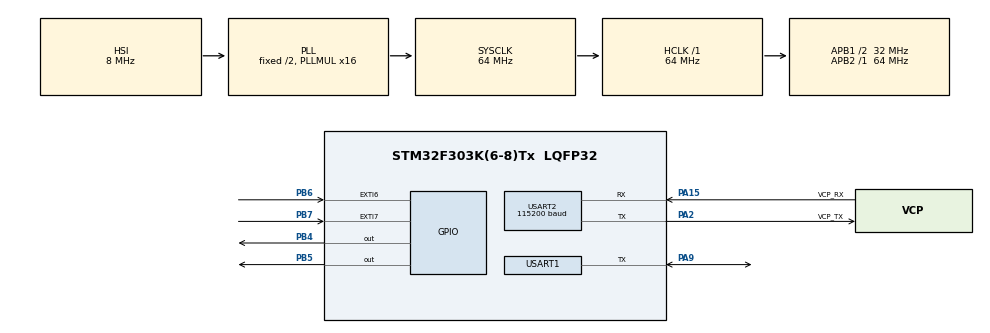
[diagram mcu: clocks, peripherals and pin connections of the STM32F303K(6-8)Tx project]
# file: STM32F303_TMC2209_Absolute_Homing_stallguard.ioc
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Mcu.Family=STM32F3
Mcu.Name=STM32F303K(6-8)Tx
Mcu.Package=LQFP32
NVIC.EXTI9_5_IRQn=true\:1\:0\:true\:false\:true\:true\:true\:true
NVIC.PriorityGroup=NVIC_PRIORITYGROUP_4
NVIC.TIM3_IRQn=true\:2\:0\:true\:false\:true\:true\:true\:true
NVIC.USART2_IRQn=true\:0\:0\:false\:false\:true\:true\:true\:true
PA13.GPIO_Label=SWDIO
PA13.Mode=Serial_Wire
PA13.Signal=SYS_JTMS-SWDIO
PA14.GPIO_Label=SWCLK
PA14.Mode=Serial_Wire
PA14.Signal=SYS_JTCK-SWCLK
PA15.GPIO_Label=VCP_RX
PA15.Mode=Asynchronous
PA15.Signal=USART2_RX
PA2.GPIO_Label=VCP_TX
PA2.Mode=Asynchronous
PA2.Signal=USART2_TX
PA9.Mode=Half_duplex(single_wire_mode)
PA9.Signal=USART1_TX
PB4.Signal=GPIO_Output
PB5.Signal=GPIO_Output
PB6.GPIO_ModeDefaultEXTI=GPIO_MODE_IT_RISING_FALLING
PB6.Signal=GPXTI6
PB7.GPIO_ModeDefaultEXTI=GPIO_MODE_IT_RISING_FALLING
PB7.Signal=GPXTI7
PF0\ /\ OSC_IN.GPIO_Label=MCO
PF0\ /\ OSC_IN.Signal=RCC_OSC_IN
ProjectManager.HeapSize=0x200
ProjectManager.StackSize=0x400
ProjectManager.TargetToolchain=STM32CubeIDE
RCC.AHBFreq_Value=64000000
RCC.APB1CLKDivider=RCC_HCLK_DIV2
RCC.APB1Freq_Value=32000000
RCC.APB1TimFreq_Value=64000000
RCC.APB2Freq_Value=64000000
RCC.APB2TimFreq_Value=64000000
RCC.CortexFreq_Value=64000000
RCC.HCLKFreq_Value=64000000
RCC.HSE_VALUE=8000000
RCC.HSI_VALUE=8000000
RCC.PLLMUL=RCC_PLL_MUL16
RCC.SYSCLKFreq_VALUE=64000000
RCC.SYSCLKSourceVirtual=RCC_SYSCLKSOURCE_PLLCLK
TIM3.Channel-Output\ Compare1\ No\ Output=TIM_CHANNEL_1
TIM3.Prescaler=64-1
USART1.BaudRate=500000
USART1.VirtualMode-Half_duplex(single_wire_mode)=VM_ASYNC
USART2.BaudRate=115200
USART2.VirtualMode-Asynchronous=VM_ASYNC
VP_TIM3_VS_ClockSourceINT.Mode=Internal
VP_TIM3_VS_no_output1.Mode=Output Compare1 No Output
board=NUCLEO-F303K8

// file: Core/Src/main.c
/* USER CODE BEGIN Header */
/**
  ******************************************************************************
  * @file           : main.c
  * @brief          : Main program body
  ******************************************************************************
  * @attention
  *
  * Copyright (c) 2022 STMicroelectronics.
  * All rights reserved.
  *
  * This software is licensed under terms that can be found in the LICENSE file
  * in the root directory of this software component.
  * If no LICENSE file comes with this software, it is provided AS-IS.
  *
  ******************************************************************************
  */
/* USER CODE END Header */
#include "main.h"

/* USER CODE BEGIN Includes */
#include <stdio.h>
#include "tmc/ic/TMC2209/TMC2209.h"
#include <math.h>

/* USER CODE END Includes */

/* USER CODE BEGIN PTD */
typedef struct {
	float acceleration;
	volatile unsigned int minStepInterval;
	void (*dirFunc)(int);
	void (*stepFunc)();

	uint8_t homing;
	unsigned int c0;
	volatile int stepPosition;

	volatile int dir; // 1 or -1
	volatile int dir_inv; //set 1 to reverse the dir

	volatile int pull_off; //set pull_off distance
	volatile int stall_off;

	volatile int seeking_vel;
	volatile int homing_vel;

	volatile unsigned int totalSteps;

	volatile char movementDone;
	volatile unsigned int rampUpStepCount;
	volatile unsigned int n; // index
	volatile float d; // current interval length
	volatile unsigned long di; // d -> unsigned  di
	volatile unsigned int stepCount;

}stepperInfo;   //stepperInfo型の構造体にメンバを格納

/* USER CODE END PTD */

/* USER CODE BEGIN PD */
#define TMC2209_CRC(data, length) tmc_CRC8(data, length, 1)

//#define NUM_STEPPERS 1

/* USER CODE END PD */

 TIM_HandleTypeDef htim3;

UART_HandleTypeDef huart1;
UART_HandleTypeDef huart2;

/* USER CODE BEGIN PV */
//static TMC2209TypeDef TMC2209; //TMC2209の設定などの定義
//static ConfigurationTypeDef *TMC2209_config; //TMC2209の設定
TMC2209TypeDef TMC2209; //TMC2209の設定などの定義
ConfigurationTypeDef TMC2209_config; //TMC2209の設定
volatile stepperInfo steppers[1];    //stepperInfo型の配列stepperにNUM_STEPPERSで定義した値を代入
uint8_t end_stop_state = 0;
uint8_t homing_flag = 0;
uint8_t current_stall = 0;

/* USER CODE END PV */

void SystemClock_Config(void);
static void MX_GPIO_Init(void);
static void MX_USART2_UART_Init(void);
static void MX_USART1_UART_Init(void);
static void MX_TIM3_Init(void);
/* USER CODE BEGIN PFP */
//static void periodicJob(uint32_t tick);
static uint8_t reset(void);
static uint8_t restore(void);
//static TMC2209TypeDef TMC2209;

/* USER CODE END PFP */

/* USER CODE BEGIN 0 */

/*void HAL_TIM_PeriodElapsedCallback(TIM_HandleTypeDef *htim)
{
    if (htim == &htim3){ //htim3に設定したタイマー割り込みの時間で発火する
        HAL_GPIO_TogglePin(GPIOB, GPIO_PIN_5);//ピンの出力を切り替え
    }
}*/
void tmc2209_readWriteArray(uint8_t channel, uint8_t *data, size_t writeLength, size_t readLength)
{
	//set your uart read write
	//UART_readWrite(channelToUART(channel), data, writeLength, readLength);
	HAL_HalfDuplex_EnableTransmitter(&huart1);
	HAL_UART_Transmit(&huart1, data, writeLength,3000);

	if(readLength > 0){
		HAL_HalfDuplex_EnableReceiver(&huart1);
		HAL_UART_Receive(&huart1, data, readLength, 3000);
	}
}

uint8_t tmc2209_CRC8(uint8_t *data, size_t length)
{
	return TMC2209_CRC(data, length);
}

//static void periodicJob(uint32_t tick)
//{
//
//	tmc2209_periodicJob(&TMC2209, tick);
//
//	//StepDir_periodicJob(0);
//}

static uint8_t reset()
{
	//StepDir_init(STEPDIR_PRECISION);
	//StepDir_setPins(0, Pins.STEP, Pins.DIR, Pins.DIAG);

	return tmc2209_reset(&TMC2209);
}

static uint8_t restore()
{
	return tmc2209_restore(&TMC2209);
}

void TMC2209_INIT()
{
	tmc_fillCRC8Table(0x07, true, 1);

	TMC2209_config.reset = reset;
	TMC2209_config.restore = restore;
	tmc2209_init(&TMC2209, 0, 0, &TMC2209_config, &tmc2209_defaultRegisterResetState[0]);

	//restore();
}

static inline TMC2209TypeDef *motorToIC(uint8_t motor)
{
	UNUSED(motor);

	return &TMC2209;
}

void HAL_GPIO_EXTI_Callback(uint16_t GPIO_Pin)
{
	//stepper 0 end stop senssor
	if(GPIO_Pin == GPIO_PIN_6 ){
		if(!HAL_GPIO_ReadPin(GPIOB, GPIO_PIN_6)){
			end_stop_state |= 1;
		}
		if(HAL_GPIO_ReadPin(GPIOB, GPIO_PIN_6)){
			end_stop_state &= ~1;
		}
	}
	if(GPIO_Pin == GPIO_PIN_7 ){
		if(!HAL_GPIO_ReadPin(GPIOB, GPIO_PIN_7)){
			current_stall|= 0;
		}
		if(HAL_GPIO_ReadPin(GPIOB, GPIO_PIN_7)){
			current_stall = 1;
		}
	}
}
void Step0(){                                       //step pin
	//pull+

	HAL_GPIO_WritePin(GPIOB, GPIO_PIN_5, GPIO_PIN_RESET);
	HAL_GPIO_WritePin(GPIOB, GPIO_PIN_5, GPIO_PIN_SET);
	/*
	 * pull-
	 * HAL_GPIO_WritePin(GPIOB, GPIO_PIN_5, GPIO_PIN_SET);
	 * HAL_GPIO_WritePin(GPIOB, GPIO_PIN_5, GPIO_PIN_RESET);
	 */
}

void Dir0(int dir){
	HAL_GPIO_WritePin(GPIOB, GPIO_PIN_4, dir); //Dir0関数にdirピンを指定して格納
}

void resetStepperInfo(stepperInfo* si){    //resetStepperInfo関数に引数をstepperInfo構造隊にポイント型変数siとして与える
	si->n = 0;  //変数*siがメンバnにアクセス.した値に0を代入する
	si->d = 0;
	si->di = 0;
	si->stepCount = 0;
	si->rampUpStepCount = 0;
	si->totalSteps = 0;
	si->stepPosition = 0;
	si->movementDone = 0;
}

void resetStepper(volatile stepperInfo* si){    //resetStepper関数に引数をstepperInfo構造隊にポイント型変数siとして与える
	si->c0 = si->acceleration;      //変数*siがメンバc0にアクセス.した値に変数*siがメンバaccelerationにアクセス.した値を代入する
	si->d = si->c0;
	si->di = si->d;
	si->stepCount = 0;
	si->n = 0;
	si->rampUpStepCount = 0;
	si->movementDone = 0;
}

volatile uint8_t remainingSteppersFlag = 0; //remainingSteppersFlagをuint8_t型で定義し、初期化

void prepareMovement(int steps){
	if(steps == 0){
		return;
	}
	volatile stepperInfo* si = &steppers[0];
	if(si->dir_inv){
		si->dirFunc( steps < 0 ? 0 : 1);
		si->dir = steps > 0 ? -1:1;
	}else{
		si->dirFunc( steps < 0 ? 1 : 0);
		si->dir = steps > 0 ? 1:-1;
	}
		si->totalSteps = abs(steps);
		resetStepper(si);
		remainingSteppersFlag |= (1 << 0);

}

void prepareAbsoluteMovement(int absolute_steps){   //prepareAbsoluteMovementで与えられたステップ数だけモータを回す(main文から）
	printf("absolute_steps:%d\r\n",absolute_steps);
	volatile stepperInfo* si = &steppers[0];	//steppers[0]のアドレスをstepperInfo* si に代入
	int steps = absolute_steps - si->stepPosition;	//目標値からstepPositionを引いた値（stepposition=毎ステップカウントされるdirの値)
	printf("steps:%d\r\n",steps);
	if(steps == 0){
					return;
				}
	si->dirFunc( steps < 0 ? 1 : 0);
	si->dir = steps > 0 ? 1:-1;
	//printf("prepareAbsoluteMovement\r\n");
	si->totalSteps = abs(steps);	//stepsの値をアブソリュートでtotalstepsに格納
	printf("steps:%d\r\n",si->totalSteps);

	resetStepper(si);
	printf("steps:%d\r\n",steps);
	remainingSteppersFlag |= (1 << 0);
}
volatile uint8_t nextStepperFlag = 0;

void setNextInterruptInterval(){

	unsigned int mind = 999999;

		if( ((1 << 0)& remainingSteppersFlag) && steppers[0].di < mind ){
			mind = steppers[0].di;
		}
		nextStepperFlag = 0;

			if( (1 << 0) && steppers[0].di == mind ){
				nextStepperFlag |= (1 << 0);
			}

		__HAL_TIM_SET_COMPARE(&htim3, TIM_CHANNEL_1, mind);		//mindにコンペアを設定
			//printf("mind:%d \r\n",mind);

	if (remainingSteppersFlag == 0){
		__HAL_TIM_SET_COMPARE(&htim3, TIM_CHANNEL_1, 65500);    //65500→コンペアマッチさせない
	}

	__HAL_TIM_SET_COMPARE(&htim3, TIM_CHANNEL_1, mind);
	return;

}
//
//void currentcheck(){
//	int32_t current_value = 0;
//	int32_t DIAG_value = 0;
//	int32_t tstep_value = 0;
//	int32_t SGTHRS_value = 0;
//

//	tstep_value=TMC2209_FIELD_READ(&TMC2209, TMC2209_TSTEP, TMC2209_TSTEP_MASK, TMC2209_TSTEP_SHIFT);
//	printf("tstep: %ld\r\n", tstep_value);
//	tmc2209_periodicJob(&TMC2209, HAL_GetTick());

//	SGTHRS_value = tmc2209_readInt(&TMC2209, TMC2209_SGTHRS);
//	printf("SGTHRS: %d\r\n", SGTHRS_value);

//	current_value=tmc2209_readInt(&TMC2209, TMC2209_SG_RESULT);	//保持トルクの設定
//	printf("SG_RESULT : %ld\r\n", current_value);

//	current_value = 3;
//	TMC2209_FIELD_UPDATE(&TMC2209, TMC2209_GCONF, TMC2209_DIAG_MASK, TMC2209_DIAG_SHIFT,toff_value);
//	tmc2209_periodicJob(&TMC2209, HAL_GetTick());

//	DIAG_value=TMC2209_FIELD_READ(&TMC2209, TMC2209_GCONF, TMC2209_DIAG_MASK, TMC2209_DIAG_SHIFT);
//	printf("DIAG : %ld\r\n", DIAG_value);
//	tmc2209_periodicJob(&TMC2209, HAL_GetTick());
//
//}
void HAL_TIM_OC_DelayElapsedCallback(TIM_HandleTypeDef *htim){      //指定したコンペアを超えた時発火
	//HAL_TIM_OC_Stop_IT(&htim3, TIM_CHANNEL_1);
	if(htim == &htim3){
	unsigned int tmpCtr = __HAL_TIM_GET_COMPARE(&htim3, TIM_CHANNEL_1);	//指定されたタイマーチャンネルのコンペアを所得
	__HAL_TIM_SET_COMPARE(&htim3, TIM_CHANNEL_1, 65500);			//コンペアを65500にセット

	if( homing_flag & (1 << 0)){
				if(end_stop_state & (1 << 0)){
					remainingSteppersFlag &= ~(1 << 0);
				}
			}
	if ( ! (nextStepperFlag & (1 << 0)) ){				//nextStepperFlagが真でない(0なら)
			steppers[0].di -= tmpCtr;           //tmpCtrの値からsteppers[i].di引いた値を新しくsteppers[i].diに代入
		}
		//printf("steppers:%ld \r\n",steppers[0].di);

		volatile stepperInfo* s = &steppers[0];

		if( (s->stepCount) < (s->totalSteps)&& !(current_stall)  ){		//1周ごとにカウントしたstepCountがabs(steps)より小さかったら==動作が終了するまで
			s->stepFunc();
			s->stepCount++;							//カウントし続ける
			s->stepPosition += s->dir;		//dir(+もしくはー(dirの向き）を加算してstepPositionに格納
			if ( (s->stepCount) >= (s->totalSteps) ){	//stepCountがtotalStepsを超えたとき
				s->movementDone = 1;	//movementDoneを1にする
				remainingSteppersFlag &= ~(1 << 0);
			}
		}

		if (s->rampUpStepCount == 0){
			s->n++;									//sにnを代入して、nをプラス1する
			s->d = s->d - (2*s->d) / (4*s->n +1);	//加減速遅延時間
			if (s->d <= s->minStepInterval ){		//加減速遅延時間がminStepIntervalより短いなら（定数で指定）
				s->d = s->minStepInterval;			//minStepIntervalを加減速遅延時間にする
				s->rampUpStepCount = s->stepCount;	//rampUpStepCountはstepCountとする
			}
			if (s->stepCount >= (s->totalSteps / 2) ){  //目標値から現在のステップを引いた値の1/2よりstepCountが大きくなったとき
				s->rampUpStepCount = s->stepCount;		//rampUpStepCountはstepCountとする
			}
		} else if ( s->stepCount >= s->totalSteps - s->rampUpStepCount) {	//目標値から現在のステップを引いた値からrampUpStepCountを引いた値がstepCountより小さいなら
			s->d = (s->d * (4 * s->n + 1)) / (4 * s->n + 1 -2);				//減速の時のステップ
			s->n--;		//sにnを代入し、nから1を引く
		}
		s->di = s->d;	//計算結果sをstepperInfoのメンバdに代入したものをメンバdiに代入
		//printf("stepPosition:%ld \r\n",s->stepPosition);
		setNextInterruptInterval();
		__HAL_TIM_SET_COUNTER(&htim3, 0);

	}
}

void sensorStateInit(){							//割り込みリセット
	if( ! HAL_GPIO_ReadPin(GPIOA, GPIO_PIN_6)){	//割り込みピンが真でない(1でない=0なら)
		end_stop_state |= 1;					//end_stop_stateに左辺か右辺が1なら1を代入
	}
}

void stallguard_back(){
	prepareMovement(steppers[0].stall_off);	//stall_off
	current_stall=0;
	return;

//	volatile stepperInfo* st = &steppers[0];
//	int steps = steppers[0].stall_off;
//	st->dirFunc( steps < 0 ? 0 : 1);
//	st->dir = steps > 0 ? -1:1;
//	int backsteps = st->stepPosition-steps;
//	printf("totalSteps Before%d\r\n",backsteps);
//
//	st->totalSteps = abs(backsteps);
//
//	printf("totalSteps After%d\r\n", st->totalSteps);

}
void runAndWait(){
	setNextInterruptInterval();
	while(remainingSteppersFlag && !(current_stall));
	if(current_stall==1){
		stallguard_back();
	}
	HAL_Delay(100);

	//printf("posi%d\r\n",re->totalSteps);
}
void AbsoluteReset(){
	volatile stepperInfo* re = &steppers[0];

	re->n = 0;  //変数*siがメンバnにアクセス.した値に0を代入する
	re->d = 0;
	re->di = 0;
	re->stepCount = 0;
	re->rampUpStepCount = 0;
	re->totalSteps = 0;
	re->stepPosition = 0;
	printf("RestOK\r\n");
}

void stepperHoming(){
	homing_flag |= (1 << 0);
	//seeking
	steppers[0].minStepInterval = steppers[0].seeking_vel;	//ホームピンに反応するまでモータ回す
	prepareMovement( -100000000);
	runAndWait();
	HAL_Delay(500);
	//pull-off

	homing_flag &= ~(1 << 0);								//homing_flagが反応したらpull_offだけモータ回す
	prepareMovement(steppers[0].pull_off);
	runAndWait();
	HAL_Delay(500);
	//homing

	homing_flag |= (1 << 0);								//ホームピンに反応するまでモータ回す
	steppers[0].minStepInterval = steppers[0].homing_vel;
	prepareMovement( -100000000);
	runAndWait();
	HAL_Delay(500);
	//pull-off
	homing_flag &= ~(1 << 0);
	prepareMovement(steppers[0].pull_off);
	runAndWait();
	HAL_Delay(500);

	steppers[0].stepPosition = 0;
	steppers[0].homing = 1;
	steppers[0].minStepInterval = 500;
	printf("homing:\r\n");

}

void TMCsetup(){
	int32_t mstep_value = 0;
		int32_t toff_value = 0;
		int32_t microstep_value = 0;
		int32_t IRUN_value = 0;
		int32_t IHOLD_value = 0;
		int32_t IHOLDDELAY_value= 0;
		int32_t stallgard_setup_value=0;
		int32_t TCOOLTHRS_value=0;
		int32_t SEMAX_value=0;
		int32_t TBL_value = 0;
		int32_t stealthChop_value = 0;
		int32_t autoscale_value = 0;
		int32_t PWMAuto_value = 0;
		int32_t PWMAuto_scale = 0;
		int32_t value = 0;

		IRUN_value = 22;
		TMC2209_FIELD_UPDATE(&TMC2209, TMC2209_IHOLD_IRUN, TMC2209_IRUN_MASK, TMC2209_IRUN_SHIFT, IRUN_value);	//実行電流
		tmc2209_periodicJob(&TMC2209, HAL_GetTick());
		HAL_Delay(100);
		IRUN_value=TMC2209_FIELD_READ(&TMC2209, TMC2209_IHOLD_IRUN, TMC2209_IRUN_MASK, TMC2209_IRUN_SHIFT);
		printf("IRUN: %ld\r\n", IRUN_value);

		IHOLD_value= 16;																						//モーター待機時の電流の設定
		TMC2209_FIELD_UPDATE(&TMC2209,TMC2209_IHOLD_IRUN, TMC2209_IHOLD_MASK, TMC2209_IHOLD_SHIFT, IHOLD_value);
		tmc2209_periodicJob(&TMC2209, HAL_GetTick());
		HAL_Delay(100);
		IHOLD_value=TMC2209_FIELD_READ(&TMC2209, TMC2209_IHOLD_IRUN, TMC2209_IHOLD_MASK, TMC2209_IHOLD_SHIFT);	//保持電流
		printf("IHOLD: %ld\r\n", IHOLD_value);

		value=0;
		value = TMC2209_FIELD_READ(&TMC2209, TMC2209_GCONF, TMC2209_PDN_DISABLE_MASK,TMC2209_PDN_DISABLE_SHIFT);
		printf("pdn_disable : %ld\r\n", value);
		value = 1;
		TMC2209_FIELD_UPDATE(&TMC2209, TMC2209_GCONF, TMC2209_PDN_DISABLE_MASK, TMC2209_PDN_DISABLE_SHIFT, value);
		tmc2209_periodicJob(&TMC2209, HAL_GetTick());
		value=TMC2209_FIELD_READ(&TMC2209, TMC2209_GCONF, TMC2209_PDN_DISABLE_MASK, TMC2209_PDN_DISABLE_SHIFT);
		printf("pdn_disable : %ld\r\n", value);

		TCOOLTHRS_value=300;
		tmc2209_writeInt(&TMC2209, TMC2209_TCOOLTHRS, TCOOLTHRS_value);
		tmc2209_periodicJob(&TMC2209, HAL_GetTick());
		printf("TCOOLTHRS: %ld\r\n", TCOOLTHRS_value);

		value=0;
		value = TMC2209_FIELD_READ(&TMC2209, TMC2209_GCONF, TMC2209_EN_SPREADCYCLE_MASK,TMC2209_EN_SPREADCYCLE_SHIFT);
		printf("SPREADCYCLE : %ld\r\n", value);
		value = 0;
		TMC2209_FIELD_UPDATE(&TMC2209, TMC2209_GCONF, TMC2209_EN_SPREADCYCLE_MASK, TMC2209_EN_SPREADCYCLE_SHIFT ,value);
		tmc2209_periodicJob(&TMC2209, HAL_GetTick());
		value=TMC2209_FIELD_READ(&TMC2209, TMC2209_GCONF, TMC2209_EN_SPREADCYCLE_MASK,TMC2209_EN_SPREADCYCLE_SHIFT);
		printf("SPREADCYCLE : %ld\r\n", value);

		value=10;
		tmc2209_writeInt(&TMC2209, TMC2209_TPWMTHRS, value);
		tmc2209_periodicJob(&TMC2209, HAL_GetTick());
		printf("TPWMTHRS: %ld\r\n", value);

		value=0;
		value = TMC2209_FIELD_READ(&TMC2209, TMC2209_GCONF, TMC2209_INTERNAL_RSENSE_MASK,TMC2209_INTERNAL_RSENSE_SHIFT);
		printf("RSENSE : %ld\r\n", value);
		value = 0;
		TMC2209_FIELD_UPDATE(&TMC2209, TMC2209_GCONF, TMC2209_INTERNAL_RSENSE_MASK, TMC2209_INTERNAL_RSENSE_SHIFT, value);
		tmc2209_periodicJob(&TMC2209, HAL_GetTick());
		value=TMC2209_FIELD_READ(&TMC2209, TMC2209_GCONF, TMC2209_INTERNAL_RSENSE_MASK, TMC2209_INTERNAL_RSENSE_SHIFT);
		printf("RSENSE : %ld\r\n", value);

		value=0;
		value = TMC2209_FIELD_READ(&TMC2209, TMC2209_PWMCONF, TMC2209_PWM_FREQ_MASK, TMC2209_PWM_FREQ_SHIFT);
		printf("PWM_FREQ : %ld\r\n", value);
		value=1;
		TMC2209_FIELD_UPDATE(&TMC2209, TMC2209_PWMCONF, TMC2209_PWM_FREQ_MASK, TMC2209_PWM_FREQ_SHIFT, value);
		value = TMC2209_FIELD_READ(&TMC2209, TMC2209_PWMCONF, TMC2209_PWM_FREQ_MASK, TMC2209_PWM_FREQ_SHIFT);
		printf("PWM_FREQ : %ld\r\n", value);

		value=0;
		value = TMC2209_FIELD_READ(&TMC2209,TMC2209_COOLCONF, TMC2209_SEIMIN_MASK, TMC2209_SEIMIN_SHIFT);
		printf("SEIMIN : %ld\r\n", value);

		value=0;
		value = TMC2209_FIELD_READ(&TMC2209, TMC2209_DRVSTATUS, TMC2209_CS_ACTUAL_MASK, TMC2209_CS_ACTUAL_SHIFT);
		printf("DRVSTATUS : %ld\r\n", value);

		mstep_value = TMC2209_FIELD_READ(&TMC2209, TMC2209_GCONF, TMC2209_MSTEP_REG_SELECT_MASK,TMC2209_MSTEP_REG_SELECT_SHIFT);	//uartでのmicrostepの有効化
		printf("mstep_before : %ld\r\n", mstep_value);
		mstep_value = 1;
		TMC2209_FIELD_UPDATE(&TMC2209, TMC2209_GCONF, TMC2209_MSTEP_REG_SELECT_MASK, TMC2209_MSTEP_REG_SELECT_SHIFT,mstep_value);
		tmc2209_periodicJob(&TMC2209, HAL_GetTick());
		mstep_value=TMC2209_FIELD_READ(&TMC2209, TMC2209_GCONF, TMC2209_MSTEP_REG_SELECT_MASK, TMC2209_MSTEP_REG_SELECT_SHIFT);
		printf("mstep_after : %ld\r\n", mstep_value);

		toff_value=TMC2209_FIELD_READ(&TMC2209, TMC2209_CHOPCONF, TMC2209_TOFF_MASK, TMC2209_TOFF_SHIFT);	//保持トルクの設定
		printf("toff_before : %ld\r\n", toff_value);
		toff_value = 3;
		TMC2209_FIELD_UPDATE(&TMC2209, TMC2209_CHOPCONF, TMC2209_TOFF_MASK, TMC2209_TOFF_SHIFT,toff_value);
		tmc2209_periodicJob(&TMC2209, HAL_GetTick());
		toff_value=TMC2209_FIELD_READ(&TMC2209, TMC2209_CHOPCONF, TMC2209_TOFF_MASK, TMC2209_TOFF_SHIFT);
		printf("toff_after : %ld\r\n", toff_value);

		microstep_value = 256 >> TMC2209_FIELD_READ(&TMC2209, TMC2209_CHOPCONF, TMC2209_MRES_MASK, TMC2209_MRES_SHIFT);	//microstepの設定
		printf("microstep_before : %ld\r\n", microstep_value);
		microstep_value = 4;
		TMC2209_FIELD_UPDATE(&TMC2209, TMC2209_CHOPCONF, TMC2209_MRES_MASK, TMC2209_MRES_SHIFT,microstep_value);
		tmc2209_periodicJob(&TMC2209, HAL_GetTick());
		microstep_value = 256 >> TMC2209_FIELD_READ(&TMC2209, TMC2209_CHOPCONF, TMC2209_MRES_MASK, TMC2209_MRES_SHIFT);
		printf("microstep_after : %ld\r\n", microstep_value);

		IHOLDDELAY_value=4;
		TMC2209_FIELD_UPDATE(&TMC2209, TMC2209_IHOLD_IRUN, TMC2209_IHOLDDELAY_MASK, TMC2209_IHOLDDELAY_SHIFT, IHOLDDELAY_value);
		tmc2209_periodicJob(&TMC2209, HAL_GetTick());
		IHOLDDELAY_value=TMC2209_FIELD_READ(&TMC2209, TMC2209_IHOLD_IRUN, TMC2209_IHOLDDELAY_MASK, TMC2209_IHOLDDELAY_SHIFT);
		printf("IHOLDDELAY: %ld\r\n", IHOLDDELAY_value);

		stallgard_setup_value=10;											//SG_RESULTと比較して、
		tmc2209_writeInt(&TMC2209, TMC2209_SGTHRS, stallgard_setup_value);
		tmc2209_periodicJob(&TMC2209, HAL_GetTick());
		stallgard_setup_value = tmc2209_readInt(&TMC2209, TMC2209_SGTHRS);
		printf("SGTHRS: %ld\r\n", stallgard_setup_value);

		stealthChop_value = 100;
		TMC2209_FIELD_UPDATE(&TMC2209, TMC2209_PWMCONF, TMC2209_PWM_GRAD_MASK, TMC2209_PWM_GRAD_SHIFT, stealthChop_value);
		stealthChop_value = TMC2209_FIELD_READ(&TMC2209, TMC2209_PWMCONF, TMC2209_PWM_GRAD_MASK, TMC2209_PWM_GRAD_SHIFT);
		tmc2209_periodicJob(&TMC2209, HAL_GetTick());
		printf("PWM_GRAD: %ld\r\n", stealthChop_value);

		value=5;
		TMC2209_FIELD_UPDATE(&TMC2209, TMC2209_COOLCONF, TMC2209_SEMIN_MASK, TMC2209_SEMIN_SHIFT, value);
		tmc2209_periodicJob(&TMC2209, HAL_GetTick());
		printf("SEMIN: %ld\r\n", value);

		SEMAX_value = 2;
		TMC2209_FIELD_UPDATE(&TMC2209, TMC2209_COOLCONF, TMC2209_SEMAX_MASK, TMC2209_SEMAX_SHIFT, SEMAX_value);
		tmc2209_periodicJob(&TMC2209, HAL_GetTick());
		printf("SEMAX: %ld\r\n", SEMAX_value);

		TBL_value = TMC2209_FIELD_READ(&TMC2209, TMC2209_CHOPCONF, TMC2209_TBL_MASK, TMC2209_TBL_SHIFT);
		tmc2209_periodicJob(&TMC2209, HAL_GetTick());
		TBL_value = 1;
		TMC2209_FIELD_UPDATE(&TMC2209, TMC2209_CHOPCONF, TMC2209_TBL_MASK, TMC2209_TBL_SHIFT, TBL_value);
		TBL_value = TMC2209_FIELD_READ(&TMC2209, TMC2209_CHOPCONF, TMC2209_TBL_MASK, TMC2209_TBL_SHIFT);
		printf("TBL: %ld\r\n", TBL_value);

		stealthChop_value = TMC2209_FIELD_READ(&TMC2209, TMC2209_PWMCONF, TMC2209_PWM_GRAD_MASK, TMC2209_PWM_GRAD_SHIFT);
		tmc2209_periodicJob(&TMC2209, HAL_GetTick());
		printf("PWM_GRAD: %ld\r\n", stealthChop_value);

		autoscale_value = TMC2209_FIELD_READ(&TMC2209, TMC2209_PWMCONF, TMC2209_PWM_AUTOSCALE_MASK, TMC2209_PWM_AUTOSCALE_SHIFT);
		tmc2209_periodicJob(&TMC2209, HAL_GetTick());
		printf("autoscale: %ld\r\n", autoscale_value);

		PWMAuto_value = tmc2209_readInt(&TMC2209,TMC2209_PWM_AUTO);
		tmc2209_periodicJob(&TMC2209, HAL_GetTick());
		printf("PWMAuto: %ld\r\n", PWMAuto_value);

		PWMAuto_scale = tmc2209_readInt(&TMC2209,TMC2209_PWMSCALE);
		tmc2209_periodicJob(&TMC2209, HAL_GetTick());
		printf("PWMSCALE: %ld\r\n", PWMAuto_scale);

		value = 0;
		value = TMC2209_FIELD_READ(&TMC2209, 0x07, TMC2209_FCLKTRIM_MASK, TMC2209_FCLKTRIM_SHIFT);

		tmc2209_periodicJob(&TMC2209, HAL_GetTick());
		printf("frequency: %ld\r\n", value);

}

uint8_t uartflag1=0;

void HAL_UART_RxCpltCallback(UART_HandleTypeDef *huart)
{
	uartflag1 = 1;
	printf("uart_timer\r\n");

}

/* USER CODE END 0 */

int main(void)
{
  /* USER CODE BEGIN 1 */
	setbuf(stdout, NULL);
	char start[] ="0:initializeTMC,1:Absolute,2:Homing\r\n";
	char nonans[] ="Not Understand \r\n";
	char rxbuf[1];

  /* USER CODE END 1 */

  /* MCU Configuration--------------------------------------------------------*/

  /* Reset of all peripherals, Initializes the Flash interface and the Systick. */
  HAL_Init();

  /* Configure the system clock */
  SystemClock_Config();

  /* Initialize all configured peripherals */
  MX_GPIO_Init();
  MX_USART2_UART_Init();
  MX_USART1_UART_Init();
  MX_TIM3_Init();
  /* USER CODE BEGIN 2 */
  //int getserial=0;
  TMC2209_INIT();
//rxbufを受信したらフラグを
  HAL_TIM_OC_Start_IT(&htim3, TIM_CHANNEL_1);
  printf("Hello\r\n");
  HAL_UART_Transmit(&huart2,(uint8_t *)start,sizeof(start),3000);

  //printf("Start \r\n");

  //uint8_t rxbuf[1];
   //int32_t *value=3;

   //TMC2209_FIELD_UPDATE(&TMC2209, TMC2209_CHOPCONF, TMC2209_MRES_MASK, TMC2209_MRES_SHIFT, 3 );
   //Set stepper 1
   steppers[0].dirFunc = Dir0;
   steppers[0].stepFunc = Step0;
   steppers[0].acceleration = 1000;
   steppers[0].minStepInterval = 100;
   steppers[0].homing = 0;
   steppers[0].dir_inv = 1;
   steppers[0].seeking_vel = 100;
   steppers[0].homing_vel = 200;
   steppers[0].pull_off = 500;
   steppers[0].stall_off=10000;
   uartflag1=0;
   rxbuf[0]=0;

  /* USER CODE END 2 */

  /* Infinite loop */
  while (1)
  {

    /* USER CODE BEGIN 3 */
	  //example read register value
	  //int32_t value = 0;
	  HAL_UART_Receive_IT(&huart2,(uint8_t *)rxbuf,sizeof(rxbuf));
	  HAL_UART_Transmit_IT(&huart2,(uint8_t *)rxbuf,sizeof(rxbuf));

	  if(uartflag1==1){
		  printf("rxbuf 2 %d\r\n",rxbuf[0]);
		  if(rxbuf[0]!=0)
		  {
			  switch(rxbuf[0])
			  {
				  case '0':
					  TMCsetup();
					  rxbuf[0]=0;
					  break;
				  case '1':
					  //HAL_UART_Transmit_IT(&huart2,(uint8_t *)front, sizeof(front));
					  printf("1:start\r\n");
					  prepareAbsoluteMovement(20000);
					  runAndWait();
					  HAL_Delay(100);
					  printf("1:end\r\n");
					  rxbuf[0]=0;
					  break;

				  case '2':
					  printf("1:start\r\n");
					  prepareAbsoluteMovement(-5000);
					  runAndWait();
					  HAL_Delay(100);
					  printf("1:end\r\n");
					  rxbuf[0]=0;
					  break;

				  case '3':
					  stepperHoming();
					  runAndWait();
					  HAL_Delay(100);
					  rxbuf[0]=0;
					  break;

				  case '4':
					  AbsoluteReset();
					  rxbuf[0]=0;
					  break;
				  default:
					  HAL_UART_Transmit_IT(&huart2,(uint8_t *)nonans, sizeof(nonans));
					  rxbuf[0]=0;
					  break;
			  }
			  uartflag1=0;

		  }
	  }

	  //HAL_Delay(100);
  }

  /* USER CODE END 3 */
}

void SystemClock_Config(void)
{
  RCC_OscInitTypeDef RCC_OscInitStruct = {0};
  RCC_ClkInitTypeDef RCC_ClkInitStruct = {0};
  RCC_PeriphCLKInitTypeDef PeriphClkInit = {0};

  /** Initializes the RCC Oscillators according to the specified parameters
  * in the RCC_OscInitTypeDef structure.
  */
  RCC_OscInitStruct.OscillatorType = RCC_OSCILLATORTYPE_HSI;
  RCC_OscInitStruct.HSIState = RCC_HSI_ON;
  RCC_OscInitStruct.HSICalibrationValue = RCC_HSICALIBRATION_DEFAULT;
  RCC_OscInitStruct.PLL.PLLState = RCC_PLL_ON;
  RCC_OscInitStruct.PLL.PLLSource = RCC_PLLSOURCE_HSI;
  RCC_OscInitStruct.PLL.PLLMUL = RCC_PLL_MUL16;
  if (HAL_RCC_OscConfig(&RCC_OscInitStruct) != HAL_OK)
  {
    Error_Handler();
  }

  /** Initializes the CPU, AHB and APB buses clocks
  */
  RCC_ClkInitStruct.ClockType = RCC_CLOCKTYPE_HCLK|RCC_CLOCKTYPE_SYSCLK
                              |RCC_CLOCKTYPE_PCLK1|RCC_CLOCKTYPE_PCLK2;
  RCC_ClkInitStruct.SYSCLKSource = RCC_SYSCLKSOURCE_PLLCLK;
  RCC_ClkInitStruct.AHBCLKDivider = RCC_SYSCLK_DIV1;
  RCC_ClkInitStruct.APB1CLKDivider = RCC_HCLK_DIV2;
  RCC_ClkInitStruct.APB2CLKDivider = RCC_HCLK_DIV1;

  if (HAL_RCC_ClockConfig(&RCC_ClkInitStruct, FLASH_LATENCY_2) != HAL_OK)
  {
    Error_Handler();
  }
  PeriphClkInit.PeriphClockSelection = RCC_PERIPHCLK_USART1;
  PeriphClkInit.Usart1ClockSelection = RCC_USART1CLKSOURCE_PCLK1;
  if (HAL_RCCEx_PeriphCLKConfig(&PeriphClkInit) != HAL_OK)
  {
    Error_Handler();
  }
}

static void MX_TIM3_Init(void)
{

  TIM_ClockConfigTypeDef sClockSourceConfig = {0};
  TIM_MasterConfigTypeDef sMasterConfig = {0};
  TIM_OC_InitTypeDef sConfigOC = {0};

  htim3.Instance = TIM3;
  htim3.Init.Prescaler = 64-1;
  htim3.Init.CounterMode = TIM_COUNTERMODE_UP;
  htim3.Init.Period = 65535;
  htim3.Init.ClockDivision = TIM_CLOCKDIVISION_DIV1;
  htim3.Init.AutoReloadPreload = TIM_AUTORELOAD_PRELOAD_DISABLE;
  if (HAL_TIM_Base_Init(&htim3) != HAL_OK)
  {
    Error_Handler();
  }
  sClockSourceConfig.ClockSource = TIM_CLOCKSOURCE_INTERNAL;
  if (HAL_TIM_ConfigClockSource(&htim3, &sClockSourceConfig) != HAL_OK)
  {
    Error_Handler();
  }
  if (HAL_TIM_OC_Init(&htim3) != HAL_OK)
  {
    Error_Handler();
  }
  sMasterConfig.MasterOutputTrigger = TIM_TRGO_RESET;
  sMasterConfig.MasterSlaveMode = TIM_MASTERSLAVEMODE_DISABLE;
  if (HAL_TIMEx_MasterConfigSynchronization(&htim3, &sMasterConfig) != HAL_OK)
  {
    Error_Handler();
  }
  sConfigOC.OCMode = TIM_OCMODE_TIMING;
  sConfigOC.Pulse = 0;
  sConfigOC.OCPolarity = TIM_OCPOLARITY_HIGH;
  sConfigOC.OCFastMode = TIM_OCFAST_DISABLE;
  if (HAL_TIM_OC_ConfigChannel(&htim3, &sConfigOC, TIM_CHANNEL_1) != HAL_OK)
  {
    Error_Handler();
  }

}

static void MX_USART1_UART_Init(void)
{

  huart1.Instance = USART1;
  huart1.Init.BaudRate = 500000;
  huart1.Init.WordLength = UART_WORDLENGTH_8B;
  huart1.Init.StopBits = UART_STOPBITS_1;
  huart1.Init.Parity = UART_PARITY_NONE;
  huart1.Init.Mode = UART_MODE_TX_RX;
  huart1.Init.HwFlowCtl = UART_HWCONTROL_NONE;
  huart1.Init.OverSampling = UART_OVERSAMPLING_16;
  huart1.Init.OneBitSampling = UART_ONE_BIT_SAMPLE_DISABLE;
  huart1.AdvancedInit.AdvFeatureInit = UART_ADVFEATURE_NO_INIT;
  if (HAL_HalfDuplex_Init(&huart1) != HAL_OK)
  {
    Error_Handler();
  }

}

static void MX_USART2_UART_Init(void)
{

  huart2.Instance = USART2;
  huart2.Init.BaudRate = 115200;
  huart2.Init.WordLength = UART_WORDLENGTH_8B;
  huart2.Init.StopBits = UART_STOPBITS_1;
  huart2.Init.Parity = UART_PARITY_NONE;
  huart2.Init.Mode = UART_MODE_TX_RX;
  huart2.Init.HwFlowCtl = UART_HWCONTROL_NONE;
  huart2.Init.OverSampling = UART_OVERSAMPLING_16;
  huart2.Init.OneBitSampling = UART_ONE_BIT_SAMPLE_DISABLE;
  huart2.AdvancedInit.AdvFeatureInit = UART_ADVFEATURE_NO_INIT;
  if (HAL_UART_Init(&huart2) != HAL_OK)
  {
    Error_Handler();
  }

}

static void MX_GPIO_Init(void)
{
  GPIO_InitTypeDef GPIO_InitStruct = {0};

  /* GPIO Ports Clock Enable */
  __HAL_RCC_GPIOF_CLK_ENABLE();
  __HAL_RCC_GPIOA_CLK_ENABLE();
  __HAL_RCC_GPIOB_CLK_ENABLE();

  /*Configure GPIO pin Output Level */
  HAL_GPIO_WritePin(GPIOB, GPIO_PIN_4|GPIO_PIN_5, GPIO_PIN_RESET);

  /*Configure GPIO pins : PB4 PB5 */
  GPIO_InitStruct.Pin = GPIO_PIN_4|GPIO_PIN_5;
  GPIO_InitStruct.Mode = GPIO_MODE_OUTPUT_PP;
  GPIO_InitStruct.Pull = GPIO_NOPULL;
  GPIO_InitStruct.Speed = GPIO_SPEED_FREQ_LOW;
  HAL_GPIO_Init(GPIOB, &GPIO_InitStruct);

  /*Configure GPIO pins : PB6 PB7 */
  GPIO_InitStruct.Pin = GPIO_PIN_6|GPIO_PIN_7;
  GPIO_InitStruct.Mode = GPIO_MODE_IT_RISING_FALLING;
  GPIO_InitStruct.Pull = GPIO_NOPULL;
  HAL_GPIO_Init(GPIOB, &GPIO_InitStruct);

  /* EXTI interrupt init*/
  HAL_NVIC_SetPriority(EXTI9_5_IRQn, 1, 0);
  HAL_NVIC_EnableIRQ(EXTI9_5_IRQn);

}

/* USER CODE BEGIN 4 */
int _write(int file, char *ptr, int len)
{
  HAL_UART_Transmit(&huart2,(uint8_t *)ptr,len,10);
  return len;
}

//int _write(int file, char *ptr, int len)
//{
//  int DataIdx;
//  for(DataIdx=0; DataIdx<len; DataIdx++)
//  {
//    ITM_SendChar(*ptr++);
//  }
//  return len;
//}

/* USER CODE END 4 */

void Error_Handler(void)
{
  __disable_irq();
  while (1)
  {
  }
}
